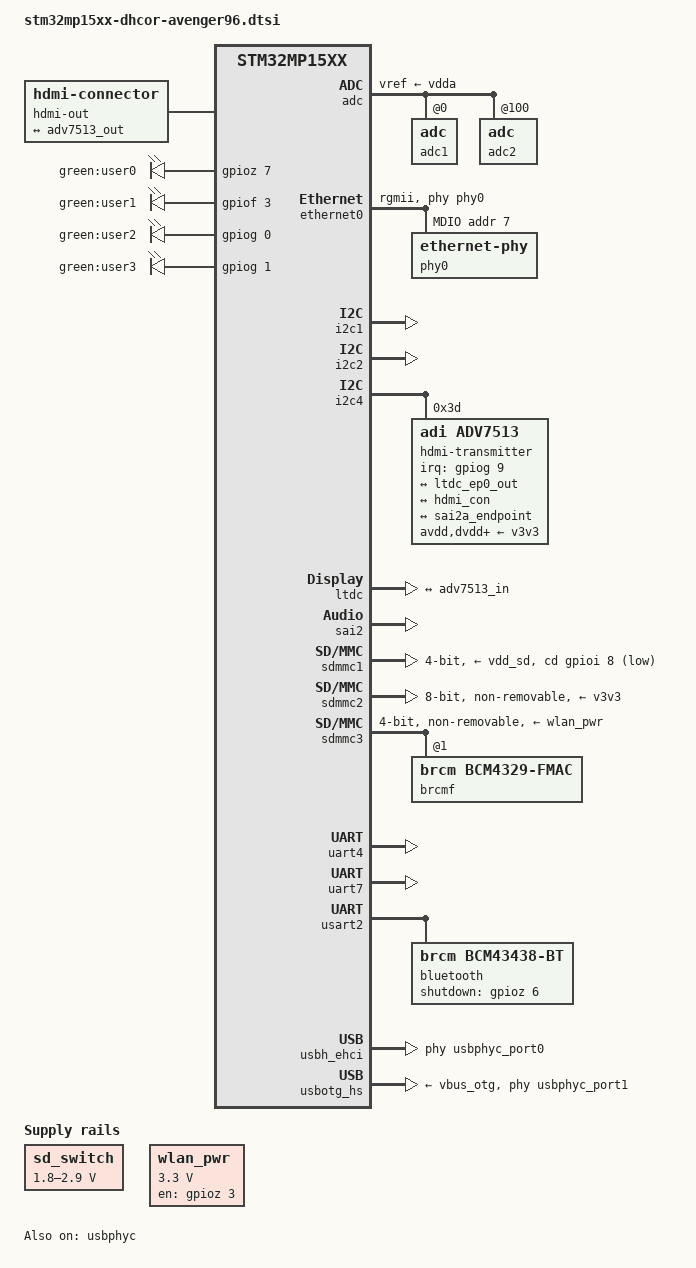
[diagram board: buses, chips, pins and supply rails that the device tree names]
// SPDX-License-Identifier: (GPL-2.0 OR BSD-3-Clause)
/*
 * Copyright (C) Linaro Ltd 2019 - All Rights Reserved
 * Author: Manivannan Sadhasivam <manivannan.sadhasivam@linaro.org>
 * Copyright (C) 2020 Marek Vasut <marex@denx.de>
 */

/* Avenger96 uses DHCOR SoM configured for 1V8 IO operation */
#include "stm32mp15xx-dhcor-io1v8.dtsi"

/ {
	aliases {
		ethernet0 = &ethernet0;
		mmc0 = &sdmmc1;
		serial0 = &uart4;
		serial1 = &uart7;
		serial2 = &usart2;
		spi0 = &qspi;
	};

	/* XTal Q1 */
	cec_clock: clk-cec-fixed {
		#clock-cells = <0>;
		compatible = "fixed-clock";
		clock-frequency = <24000000>;
	};

	chosen {
		stdout-path = "serial0:115200n8";
	};

	hdmi-out {
		compatible = "hdmi-connector";
		type = "a";

		port {
			hdmi_con: endpoint {
				remote-endpoint = <&adv7513_out>;
			};
		};
	};

	led {
		compatible = "gpio-leds";
		led1 {
			label = "green:user0";
			gpios = <&gpioz 7 GPIO_ACTIVE_HIGH>;
			linux,default-trigger = "heartbeat";
			default-state = "off";
		};

		led2 {
			label = "green:user1";
			gpios = <&gpiof 3 GPIO_ACTIVE_HIGH>;
			linux,default-trigger = "mmc0";
			default-state = "off";
		};

		led3 {
			label = "green:user2";
			gpios = <&gpiog 0 GPIO_ACTIVE_HIGH>;
			linux,default-trigger = "mmc1";
			default-state = "off";
		};

		led4 {
			label = "green:user3";
			gpios = <&gpiog 1 GPIO_ACTIVE_HIGH>;
			linux,default-trigger = "none";
			default-state = "off";
			panic-indicator;
		};
	};

	sd_switch: regulator-sd_switch {
		compatible = "regulator-gpio";
		regulator-name = "sd_switch";
		regulator-min-microvolt = <1800000>;
		regulator-max-microvolt = <2900000>;
		regulator-type = "voltage";
		regulator-always-on;

		gpios = <&gpioi 5 GPIO_ACTIVE_HIGH>;
		gpios-states = <0>;
		states = <1800000 0x1>,
			 <2900000 0x0>;
	};

	sound {
		compatible = "audio-graph-card";
		label = "STM32MP1-AV96-HDMI";
		dais = <&sai2a_port>;
		status = "okay";
	};

	wlan_pwr: regulator-wlan {
		compatible = "regulator-fixed";

		regulator-name = "wl-reg";
		regulator-min-microvolt = <3300000>;
		regulator-max-microvolt = <3300000>;

		gpios = <&gpioz 3 GPIO_ACTIVE_HIGH>;
		enable-active-high;
	};
};

&adc {
	pinctrl-names = "default";
	pinctrl-0 = <&adc12_ain_pins_b>;
	vdd-supply = <&vdd>;
	vdda-supply = <&vdda>;
	vref-supply = <&vdda>;
	status = "okay";

	adc1: adc@0 {
		st,adc-channels = <0 1 6>;
		st,min-sample-time-nsecs = <5000>;
		status = "okay";
	};

	adc2: adc@100 {
		st,adc-channels = <0 1 2>;
		st,min-sample-time-nsecs = <5000>;
		status = "okay";
	};
};

&ethernet0 {
	status = "okay";
	pinctrl-0 = <&ethernet0_rgmii_pins_c>;
	pinctrl-1 = <&ethernet0_rgmii_sleep_pins_c>;
	pinctrl-names = "default", "sleep";
	phy-mode = "rgmii";
	max-speed = <1000>;
	phy-handle = <&phy0>;

	mdio0 {
		#address-cells = <1>;
		#size-cells = <0>;
		compatible = "snps,dwmac-mdio";
		reset-gpios = <&gpioz 2 GPIO_ACTIVE_LOW>;
		reset-delay-us = <1000>;

		phy0: ethernet-phy@7 {
			reg = <7>;

			rxc-skew-ps = <1500>;
			rxdv-skew-ps = <540>;
			rxd0-skew-ps = <420>;
			rxd1-skew-ps = <420>;
			rxd2-skew-ps = <420>;
			rxd3-skew-ps = <420>;

			txc-skew-ps = <1440>;
			txen-skew-ps = <540>;
			txd0-skew-ps = <420>;
			txd1-skew-ps = <420>;
			txd2-skew-ps = <420>;
			txd3-skew-ps = <420>;
		};
	};
};

&gpioa {
	gpio-line-names = "", "", "", "",
			  "", "", "", "",
			  "", "", "", "AV96-K",
			  "AV96-I", "", "AV96-A", "";
};

&gpiob {
	gpio-line-names = "", "", "", "",
			  "", "AV96-J", "", "",
			  "", "", "", "AV96-B",
			  "", "AV96-L", "", "";
};

&gpioc {
	gpio-line-names = "", "", "", "AV96-C",
			  "", "", "", "",
			  "", "", "", "",
			  "", "", "", "";
};

&gpiod {
	gpio-line-names = "", "", "", "",
			  "", "", "", "",
			  "AV96-D", "", "", "",
			  "", "", "AV96-E", "AV96-F";
};

&gpiof {
	gpio-line-names = "", "", "", "",
			  "", "", "", "",
			  "", "", "", "",
			  "AV96-G", "AV96-H", "", "";
};

&i2c1 {	/* X6 I2C1 */
	pinctrl-names = "default";
	pinctrl-0 = <&i2c1_pins_b>;
	i2c-scl-rising-time-ns = <185>;
	i2c-scl-falling-time-ns = <20>;
	status = "okay";
	/delete-property/dmas;
	/delete-property/dma-names;
};

&i2c2 {	/* X6 I2C2 */
	pinctrl-names = "default";
	pinctrl-0 = <&i2c2_pins_c>;
	i2c-scl-rising-time-ns = <185>;
	i2c-scl-falling-time-ns = <20>;
	status = "okay";
	/delete-property/dmas;
	/delete-property/dma-names;
};

&i2c4 {
	hdmi-transmitter@3d {
		compatible = "adi,adv7513";
		reg = <0x3d>, <0x2d>, <0x4d>, <0x5d>;
		reg-names = "main", "cec", "edid", "packet";
		clocks = <&cec_clock>;
		clock-names = "cec";

		avdd-supply = <&v3v3>;
		dvdd-supply = <&v3v3>;
		pvdd-supply = <&v3v3>;
		dvdd-3v-supply = <&v3v3>;
		bgvdd-supply = <&v3v3>;

		interrupts = <9 IRQ_TYPE_EDGE_FALLING>;
		interrupt-parent = <&gpiog>;

		status = "okay";

		adi,input-depth = <8>;
		adi,input-colorspace = "rgb";
		adi,input-clock = "1x";
		adi,input-style = <1>;
		adi,input-justification = "evenly";

		ports {
			#address-cells = <1>;
			#size-cells = <0>;

			port@0 {
				reg = <0>;
				adv7513_in: endpoint {
					remote-endpoint = <&ltdc_ep0_out>;
				};
			};

			port@1 {
				reg = <1>;
				adv7513_out: endpoint {
					remote-endpoint = <&hdmi_con>;
				};
			};

			port@2 {
				reg = <2>;
				adv7513_i2s0: endpoint {
					remote-endpoint = <&sai2a_endpoint>;
				};
			};
		};
	};
};

&ltdc {
	pinctrl-names = "default", "sleep";
	pinctrl-0 = <&ltdc_pins_d>;
	pinctrl-1 = <&ltdc_sleep_pins_d>;
	status = "okay";

	port {
		#address-cells = <1>;
		#size-cells = <0>;

		ltdc_ep0_out: endpoint@0 {
			reg = <0>;
			remote-endpoint = <&adv7513_in>;
		};
	};
};

&sai2 {
	clocks = <&rcc SAI2>, <&rcc PLL3_Q>, <&rcc PLL3_R>;
	pinctrl-names = "default", "sleep";
	pinctrl-0 = <&sai2a_pins_c>;
	pinctrl-1 = <&sai2a_sleep_pins_c>;
	clock-names = "pclk", "x8k", "x11k";
	status = "okay";

	sai2a: audio-controller@4400b004 {
		#clock-cells = <0>;
		dma-names = "tx";
		clocks = <&rcc SAI2_K>;
		clock-names = "sai_ck";
		status = "okay";

		sai2a_port: port {
			sai2a_endpoint: endpoint {
				remote-endpoint = <&adv7513_i2s0>;
				format = "i2s";
				mclk-fs = <256>;
			};
		};
	};
};

&sdmmc1 {
	pinctrl-names = "default", "opendrain", "sleep";
	pinctrl-0 = <&sdmmc1_b4_pins_a &sdmmc1_dir_pins_b>;
	pinctrl-1 = <&sdmmc1_b4_od_pins_a &sdmmc1_dir_pins_b>;
	pinctrl-2 = <&sdmmc1_b4_sleep_pins_a &sdmmc1_dir_sleep_pins_b>;
	cd-gpios = <&gpioi 8 (GPIO_ACTIVE_LOW | GPIO_PULL_UP)>;
	disable-wp;
	st,sig-dir;
	st,neg-edge;
	st,use-ckin;
	bus-width = <4>;
	vmmc-supply = <&vdd_sd>;
	vqmmc-supply = <&sd_switch>;
	status = "okay";
};

&sdmmc2 {
	pinctrl-names = "default", "opendrain", "sleep";
	pinctrl-0 = <&sdmmc2_b4_pins_a &sdmmc2_d47_pins_c>;
	pinctrl-1 = <&sdmmc2_b4_od_pins_a &sdmmc2_d47_pins_c>;
	pinctrl-2 = <&sdmmc2_b4_sleep_pins_a &sdmmc2_d47_sleep_pins_c>;
	bus-width = <8>;
	mmc-ddr-1_8v;
	no-sd;
	no-sdio;
	non-removable;
	st,neg-edge;
	vmmc-supply = <&v3v3>;
	vqmmc-supply = <&vdd_io>;
	status = "okay";
};

&sdmmc3 {
	pinctrl-names = "default", "opendrain", "sleep";
	pinctrl-0 = <&sdmmc3_b4_pins_b>;
	pinctrl-1 = <&sdmmc3_b4_od_pins_b>;
	pinctrl-2 = <&sdmmc3_b4_sleep_pins_b>;
	broken-cd;
	non-removable;
	st,neg-edge;
	bus-width = <4>;
	vmmc-supply = <&wlan_pwr>;
	status = "okay";

	#address-cells = <1>;
	#size-cells = <0>;
	brcmf: bcrmf@1 {
		reg = <1>;
		compatible = "brcm,bcm4329-fmac";
	};
};

&spi2 {
	pinctrl-names = "default";
	pinctrl-0 = <&spi2_pins_a>;
	cs-gpios = <&gpioi 0 0>;
	status = "disabled";
	/delete-property/dmas;
	/delete-property/dma-names;
};

&uart4 {
	/* On Low speed expansion header */
	label = "LS-UART1";
	pinctrl-names = "default";
	pinctrl-0 = <&uart4_pins_b>;
	status = "okay";
};

&uart7 {
	/* On Low speed expansion header */
	label = "LS-UART0";
	pinctrl-names = "default";
	pinctrl-0 = <&uart7_pins_a>;
	uart-has-rtscts;
	status = "okay";
};

/* Bluetooth */
&usart2 {
	pinctrl-names = "default", "sleep";
	pinctrl-0 = <&usart2_pins_a>;
	pinctrl-1 = <&usart2_sleep_pins_a>;
	st,hw-flow-ctrl;
	status = "okay";

	bluetooth {
		compatible = "brcm,bcm43438-bt";
		max-speed = <3000000>;
		shutdown-gpios = <&gpioz 6 GPIO_ACTIVE_HIGH>;
	};
};

&usbh_ehci {
	phys = <&usbphyc_port0>;
	phy-names = "usb";
	status = "okay";
};

&usbotg_hs {
	pinctrl-0 = <&usbotg_hs_pins_a>;
	pinctrl-names = "default";
	phy-names = "usb2-phy";
	phys = <&usbphyc_port1 0>;
	status = "okay";
	vbus-supply = <&vbus_otg>;
};

&usbphyc {
	status = "okay";
};

&usbphyc_port0 {
	phy-supply = <&vdd_usb>;
};

&usbphyc_port1 {
	phy-supply = <&vdd_usb>;
};
